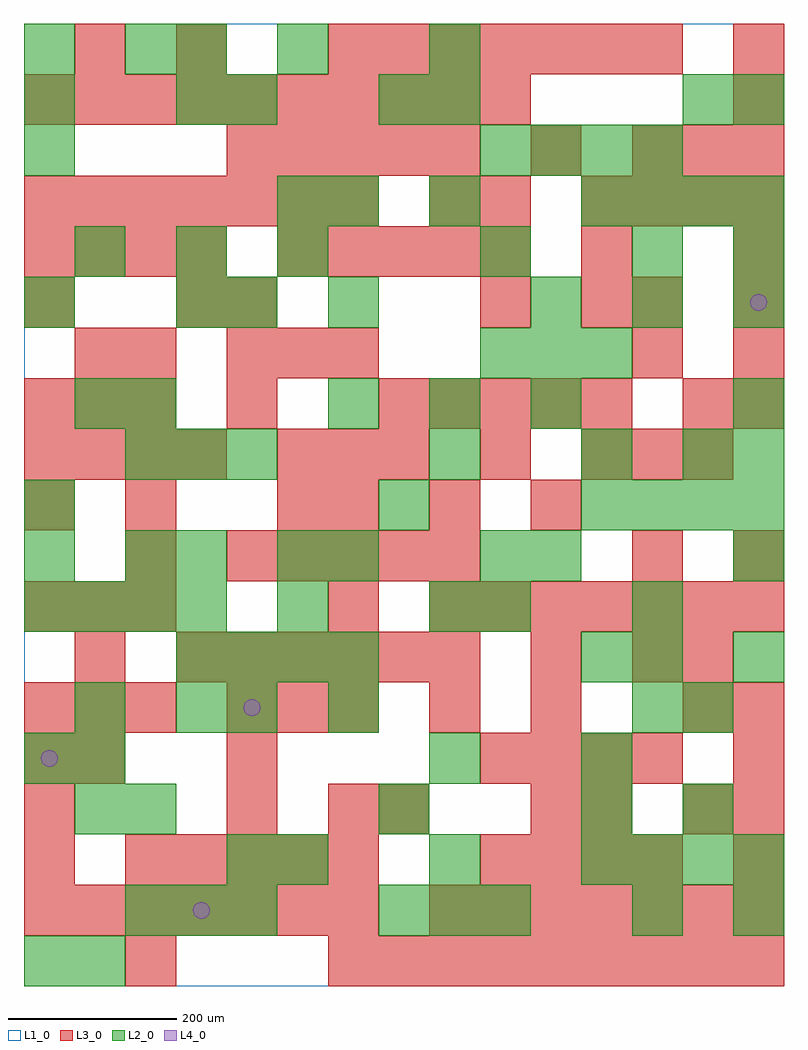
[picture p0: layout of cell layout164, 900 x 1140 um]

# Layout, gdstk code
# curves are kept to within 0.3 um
import gdstk
lib = gdstk.Library(unit=1e-6, precision=1e-09)
def R(c, l, rs):  # rectangles x0, y0, x1, y1
    for r in rs: c.add(gdstk.rectangle(r[:2], r[2:], *l))
def A(c, l, x, y, w, h, nx, ny, dx, dy):  # array of equal rectangles
    R(c, l, [(x+i*dx, y+j*dy, x+i*dx+w, y+j*dy+h) for i in range(nx) for j in range(ny)])
def P(c, l, *ps):  # polygons
    for p in ps: c.add(gdstk.Polygon(p, *l))
L1_0 = (1, 0)
L2_0 = (2, 0)
L3_0 = (3, 0)
L4_0 = (4, 0)

layout164 = lib.new_cell('layout164')
R(layout164, L1_0, [(0,0,900,1140)])
A(layout164, L2_0, 0, 0, 60, 60, 1, 3, 0, 240)
A(layout164, L2_0, 120, 60, 60, 60, 3, 2, 60, 540)
A(layout164, L2_0, 420, 60, 60, 60, 3, 1, 60, 0)
A(layout164, L2_0, 300, 120, 60, 60, 3, 1, 180, 0)
A(layout164, L2_0, 720, 120, 60, 60, 3, 1, 60, 0)
A(layout164, L2_0, 60, 180, 60, 60, 1, 3, 0, 60)
A(layout164, L2_0, 480, 240, 60, 60, 1, 3, 0, 180)
A(layout164, L2_0, 720, 300, 60, 60, 1, 3, 0, 60)
A(layout164, L2_0, 180, 360, 60, 60, 4, 1, 60, 0)
A(layout164, L2_0, 840, 360, 60, 60, 1, 3, 0, 120)
A(layout164, L2_0, 0, 420, 60, 60, 4, 1, 60, 0)
A(layout164, L2_0, 660, 540, 60, 60, 4, 2, 60, 360)
A(layout164, L2_0, 360, 660, 60, 60, 3, 1, 120, 0)
A(layout164, L2_0, 840, 660, 60, 60, 1, 3, 0, 180)
A(layout164, L2_0, 540, 720, 60, 60, 3, 1, 60, 0)
A(layout164, L2_0, 600, 780, 60, 60, 3, 1, 120, 0)
A(layout164, L2_0, 60, 840, 60, 60, 3, 1, 120, 0)
A(layout164, L2_0, 0, 960, 60, 60, 1, 3, 0, 60)
A(layout164, L2_0, 540, 960, 60, 60, 4, 1, 60, 0)
R(layout164, L2_0, [(60,0,120,60), (720,60,780,120), (840,60,900,120), (240,120,300,180), (120,180,180,240), (420,180,480,240), (660,180,720,240), (780,180,840,240), (660,240,720,300), (180,300,240,360), (240,300,300,360), (360,300,420,360), (780,300,840,360), (660,360,720,420), (300,420,360,480), (540,420,600,480), (120,480,180,540), (180,480,240,540), (300,480,360,540), (360,480,420,540), (540,480,600,540), (600,480,660,540), (0,540,60,600), (420,540,480,600), (660,600,720,660), (780,600,840,660), (60,660,120,720), (120,660,180,720), (0,780,60,840), (180,780,240,840), (240,780,300,840), (360,780,420,840), (540,840,600,900), (720,840,780,900), (300,900,360,960), (360,900,420,960), (480,900,540,960), (180,1020,240,1080), (240,1020,300,1080), (420,1020,480,1080), (480,1020,540,1080), (780,1020,840,1080), (120,1080,180,1140), (180,1080,240,1140), (300,1080,360,1140), (480,1080,540,1140)])
A(layout164, L3_0, 360, 0, 60, 60, 9, 1, 60, 0)
A(layout164, L3_0, 0, 60, 60, 60, 7, 2, 60, 840)
A(layout164, L3_0, 480, 60, 60, 60, 7, 2, 60, 360)
A(layout164, L3_0, 0, 120, 60, 60, 1, 3, 0, 60)
A(layout164, L3_0, 120, 120, 60, 60, 5, 1, 60, 0)
A(layout164, L3_0, 540, 120, 60, 60, 4, 2, 60, 120)
A(layout164, L3_0, 840, 120, 60, 60, 1, 4, 0, 60)
A(layout164, L3_0, 0, 300, 60, 60, 3, 2, 60, 120)
A(layout164, L3_0, 240, 300, 60, 60, 3, 2, 60, 420)
A(layout164, L3_0, 60, 360, 60, 60, 1, 3, 0, 360)
A(layout164, L3_0, 180, 360, 60, 60, 6, 1, 60, 0)
A(layout164, L3_0, 240, 480, 60, 60, 5, 2, 60, 480)
A(layout164, L3_0, 360, 540, 60, 60, 3, 1, 120, 0)
A(layout164, L3_0, 0, 600, 60, 60, 4, 2, 60, 240)
A(layout164, L3_0, 300, 600, 60, 60, 3, 1, 60, 0)
A(layout164, L3_0, 660, 600, 60, 60, 3, 1, 60, 0)
A(layout164, L3_0, 0, 660, 60, 60, 3, 1, 60, 0)
A(layout164, L3_0, 420, 660, 60, 60, 5, 1, 60, 0)
A(layout164, L3_0, 840, 660, 60, 60, 1, 4, 0, 60)
A(layout164, L3_0, 300, 840, 60, 60, 5, 1, 60, 0)
A(layout164, L3_0, 660, 900, 60, 60, 4, 1, 60, 0)
A(layout164, L3_0, 720, 960, 60, 60, 3, 1, 60, 0)
A(layout164, L3_0, 0, 1020, 60, 60, 10, 1, 60, 0)
A(layout164, L3_0, 360, 1080, 60, 60, 7, 1, 60, 0)
R(layout164, L3_0, [(120,0,180,60), (240,180,300,240), (360,180,420,240), (420,180,480,240), (600,180,660,240), (660,180,720,240), (780,180,840,240), (60,240,120,300), (240,240,300,300), (480,300,540,360), (600,300,660,360), (780,300,840,360), (600,360,660,420), (720,360,780,420), (780,360,840,420), (360,420,420,480), (120,480,180,540), (720,480,780,540), (840,480,900,540), (0,540,60,600), (120,540,180,600), (300,540,360,600), (540,600,600,660), (240,660,300,720), (780,660,840,720), (120,720,180,780), (720,720,780,780), (0,780,60,840), (180,780,240,840), (240,780,300,840), (540,780,600,840), (660,780,720,840), (720,780,780,840), (660,840,720,900), (480,900,540,960), (540,900,600,960), (600,960,660,1020), (840,1020,900,1080), (180,1080,240,1140), (840,1080,900,1140)])
P(layout164, L4_0, [(40,270),(39.239,273.827),(37.071,277.071),(33.827,279.239),(30,280),(26.173,279.239),(22.929,277.071),(20.761,273.827),(20,270),(20.761,266.173),(22.929,262.929),(26.173,260.761),(30,260),(33.827,260.761),(37.071,262.929),(39.239,266.173)],
  [(220,90),(219.239,93.827),(217.071,97.071),(213.827,99.239),(210,100),(206.173,99.239),(202.929,97.071),(200.761,93.827),(200,90),(200.761,86.173),(202.929,82.929),(206.173,80.761),(210,80),(213.827,80.761),(217.071,82.929),(219.239,86.173)],
  [(280,330),(279.239,333.827),(277.071,337.071),(273.827,339.239),(270,340),(266.173,339.239),(262.929,337.071),(260.761,333.827),(260,330),(260.761,326.173),(262.929,322.929),(266.173,320.761),(270,320),(273.827,320.761),(277.071,322.929),(279.239,326.173)],
  [(880,810),(879.239,813.827),(877.071,817.071),(873.827,819.239),(870,820),(866.173,819.239),(862.929,817.071),(860.761,813.827),(860,810),(860.761,806.173),(862.929,802.929),(866.173,800.761),(870,800),(873.827,800.761),(877.071,802.929),(879.239,806.173)])

lib.write_gds('layout164.gds')
